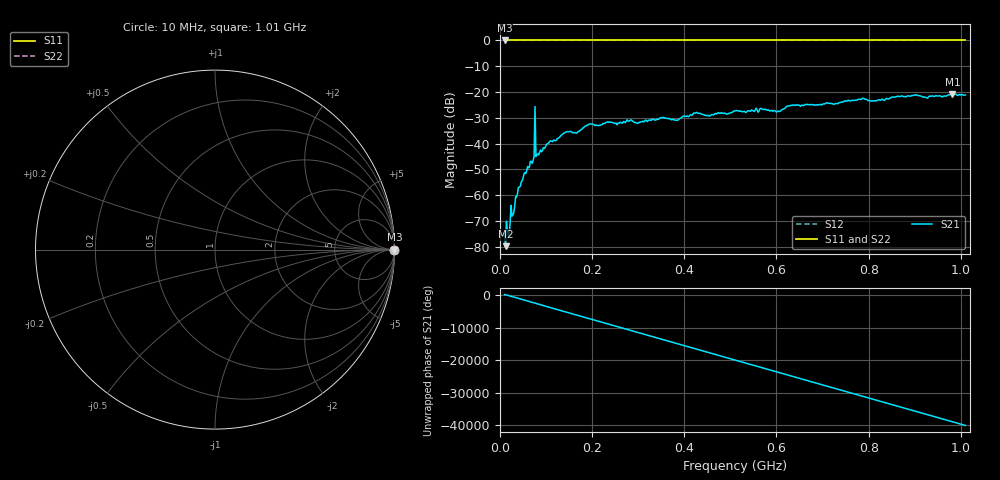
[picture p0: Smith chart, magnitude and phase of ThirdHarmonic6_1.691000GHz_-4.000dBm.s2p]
! 8/16/2025 8:18:22 PM
! C:\ANRITSUVNA\TEMP\TEMP.S2P
! CHANNEL.1
! TR.MEASUREMENT
! RAW.DATA
! RF.CORRECTION.OFF
! AVERAGING.OFF
! IF.BANDWIDTH: 5KHZ
! SWEEPTYPE:  FREQ.SWEEP(Linear)
! Reference Plane Port Info
! PORT:  PORT1  PORT2
! DISTANCE:  0  m  0  m
! TIME:  0  s  0  s
! PHASE.OFFSET:  0  deg.  0  deg.
! LOSS:  0  dB  0  dB
! REF.LOSS:  0  dB  0  dB
! REF.FREQ:  0  Hz  0  Hz
! Power Info
! POWER:  -20  dBm  -20  dBm
! EFF.POWER:  -20  dBm  -20  dBm
! SOURCE.ATTEN:  0  dB  0  dB
! TEST.ATTEN:  0  dB  0  dB
# GHZ S RI R 50.0
! FREQ.GHZ  S11RE  S11IM  S21RE  S21IM  S12RE  S12IM  S22RE  S22IM
!; PortSelection: Port_12
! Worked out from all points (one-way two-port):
!   501 points, 10 MHz to 1.01 GHz, reference 50 ohm
!   highest |S21| = -20.82 dB at 982 MHz (marker M1); lowest = -79.8 dB at 12 MHz (marker M2)
!   lowest |S11| = 0.0 dB at 10 MHz (marker M3)
!   |S11| at or under -10 dB: nowhere
!   |S22| runs from 0.0 to 0.0 dB; largest |S21 - S12| = 1.1
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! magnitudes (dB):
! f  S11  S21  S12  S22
! 10 MHz  0.0  -74.7  0.0  0.0
! 12 MHz  0.0  -79.8  0.0  0.0
! 16 MHz  0.0  -73.8  0.0  0.0
! 38 MHz  0.0  -59.3  0.0  0.0
! 70 MHz  0.0  -47.6  0.0  0.0
! 72 MHz  0.0  -46.5  0.0  0.0
! 76 MHz  0.0  -25.6  0.0  0.0
! 80 MHz  0.0  -44.2  0.0  0.0
! 82 MHz  0.0  -44.1  0.0  0.0
! 106 MHz  0.0  -39.7  0.0  0.0
! 142 MHz  0.0  -35.6  0.0  0.0
! 178 MHz  0.0  -34.4  0.0  0.0
! 196 MHz  0.0  -32.4  0.0  0.0
! 344 MHz  0.0  -30.6  0.0  0.0
! 382 MHz  0.0  -30.9  0.0  0.0
! 510 MHz  0.0  -27.3  0.0  0.0
! 604 MHz  0.0  -27.4  0.0  0.0
! 628 MHz  0.0  -25.4  0.0  0.0
! 678 MHz  0.0  -25.0  0.0  0.0
! 844 MHz  0.0  -22.7  0.0  0.0
! 982 MHz  0.0  -20.8  0.0  0.0
! 1.01 GHz  0.0  -21.1  0.0  0.0
